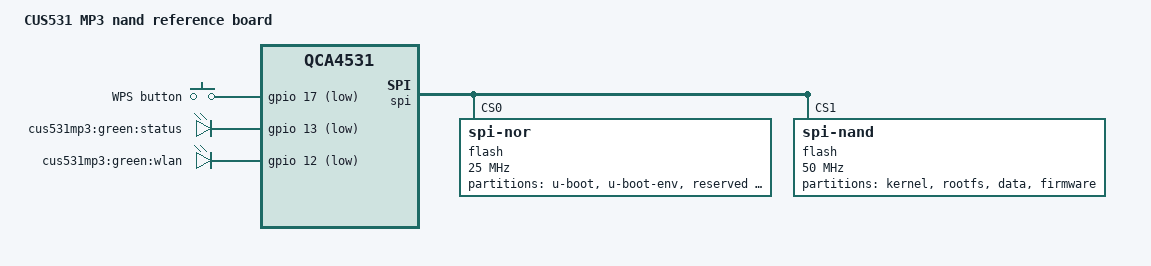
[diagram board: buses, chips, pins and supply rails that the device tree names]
// SPDX-License-Identifier: ISC
// Copyright (c) 2022, Qualcomm Innovation Center, Inc. All rights reserved.

/dts-v1/;

#include <dt-bindings/gpio/gpio.h>
#include <dt-bindings/input/input.h>
#include <dt-bindings/clock/ath79-clk.h>

#include "qca4531.dtsi"

/ {
	compatible = "qca,cus531mp3_nand", "qca,ath79";
	model = "CUS531 MP3 nand reference board";

	gpio-keys-polled {
		compatible = "gpio-keys-polled";
		#address-cells = <1>;
		#size-cells = <0>;

		poll-interval = <20>;

		button@0 {
			label = "WPS button";
			linux,code = <KEY_WPS_BUTTON>;
			gpios = <&gpio 17 GPIO_ACTIVE_LOW>;
			debounce-interval = <60>;
		};
	};

	leds {
		compatible = "gpio-leds";
		led@0 {
			label = "cus531mp3:green:status";
			gpios = <&gpio 13 GPIO_ACTIVE_LOW>;
		};

		led@1 {
			label = "cus531mp3:green:wlan";
			gpios = <&gpio 12 GPIO_ACTIVE_LOW>;
		};

	};
};

&spi {
	status = "okay";

	flash@0 {
		#address-cells = <1>;
		#size-cells = <1>;
		compatible = "jedec,spi-nor";
		reg = <0>;
		spi-max-frequency = <25000000>;
		cs-gpios = <&gpio 0 GPIO_ACTIVE_LOW>;

		partition@0 {
			label = "u-boot";
			reg = <0x000000 0x040000>;
		};

		partition@1 {
			label = "u-boot-env";
			reg = <0x040000 0x010000>;
		};

		partition@2 {
			label = "reserved";
			reg = <0x050000 0x020000>;
		};

		partition@3 {
			label = "art";
			reg = <0x070000 0x0010000>;
		};
	};

	flash@1 {
		#address-cells = <1>;
		#size-cells = <1>;
		compatible = "spi-nand";
		reg = <1>;
		spi-max-frequency = <50000000>;

		partition@0 {
			label = "kernel";
			reg = <0x000000 0x200000>;
		};

		partition@1 {
			label = "rootfs";
			reg = <0x200000 0x2400000>;
		};

		partition@2 {
			label = "data";
			reg = <0x2600000 0x5a00000>;
		};

		partition@3 {
			label = "firmware";
			reg = <0x0000000 0x2600000>;
		};
	};
};

